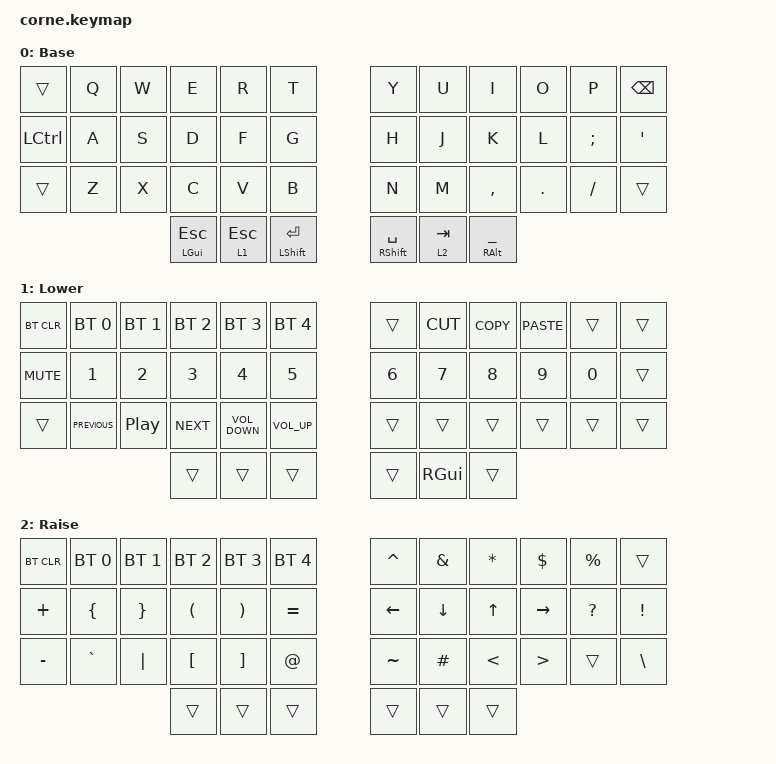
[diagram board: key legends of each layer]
/*
 * Copyright (c) 2020 The ZMK Contributors
 *
 * SPDX-License-Identifier: MIT
 */

#include <behaviors.dtsi>
#include <dt-bindings/zmk/bt.h>
#include <dt-bindings/zmk/keys.h>

&mt {
    flavor = "tap-preferred";
    tapping-term-ms = <180>;
};

/ {
    behaviors {
        space_tap: space_tap {
            compatible = "zmk,behavior-hold-tap";
            label = "SPACE_TAP";
            bindings = <&kp>, <&kp>;

            #binding-cells = <2>;
            tapping-term-ms = <190>;
            flavor = "tap-preferred";
        };

        Return_tap: Return_tap {
            compatible = "zmk,behavior-hold-tap";
            label = "RETURN_TAP";
            bindings = <&kp>, <&kp>;

            #binding-cells = <2>;
            tapping-term-ms = <150>;
        };
    };

    combos {
        compatible = "zmk,combos";

        CapsLock {
            bindings = <&kp CAPSLOCK>;
            key-positions = <38 39>;
        };
    };

    keymap {
        compatible = "zmk,keymap";

        default_layer {
            // -----------------------------------------------------------------------------------------
            // |  TAB |  Q  |  W  |  E  |  R  |  T  |   |  Y  |  U   |  I  |  O  |  P  | BKSP |
            // | CTRL |  A  |  S  |  D  |  F  |  G  |   |  H  |  J   |  K  |  L  |  ;  |  '   |
            // | SHFT |  Z  |  X  |  C  |  V  |  B  |   |  N  |  M   |  ,  |  .  |  /  | ESC  |
            //                    | GUI | LWR | ENT |   | SPC | RSE  | ALT |

            label = "Base";
            bindings = <
&trans     &kp Q  &kp W  &kp E                &kp R         &kp T                           &kp Y                         &kp U      &kp I                     &kp O    &kp P     &kp BACKSPACE
&kp LCTRL  &kp A  &kp S  &kp D                &kp F         &kp G                           &kp H                         &kp J      &kp K                     &kp L    &kp SEMI  &kp SQT
&trans     &kp Z  &kp X  &kp C                &kp V         &kp B                           &kp N                         &kp M      &kp COMMA                 &kp DOT  &kp FSLH  &trans
                         &mt LEFT_GUI ESCAPE  &lt 1 ESCAPE  &Return_tap LEFT_SHIFT ENTER    &space_tap RIGHT_SHIFT SPACE  &lt 2 TAB  &mt RIGHT_ALT UNDERSCORE
            >;
        };

        lower_layer {
            // -----------------------------------------------------------------------------------------
            // |  TAB |  BT1  |  BT2  | BT3 | BT4 | BT5 |   |     |     |     |     |     | BKSP |
            // | BTCLR|   1   |   2   |  3  |  4  |  5  |   |  6  |  7  |  8  |  9  |  0  |      |
            // | SHFT |       |       |     |     |     |   |     |     |     |     |     |      |
            //                    | GUI |     | ENT |   | SPC |     | ALT |

            label = "Lower";
            bindings = <
&bt BT_CLR  &bt BT_SEL 0    &bt BT_SEL 1      &bt BT_SEL 2  &bt BT_SEL 3       &bt BT_SEL 4       &trans        &kp K_CUT      &kp K_COPY  &kp K_PASTE  &trans  &trans
&kp C_MUTE  &kp NUMBER_1    &kp NUMBER_2      &kp NUMBER_3  &kp NUMBER_4       &kp N5             &kp NUMBER_6  &kp N7         &kp N8      &kp N9       &kp N0  &trans
&trans      &kp C_PREVIOUS  &kp C_PLAY_PAUSE  &kp C_NEXT    &kp C_VOLUME_DOWN  &kp C_VOLUME_UP    &trans        &trans         &trans      &trans       &trans  &trans
                                              &trans        &trans             &trans             &trans        &kp RIGHT_GUI  &trans
            >;
        };

        raise_layer {
            // -----------------------------------------------------------------------------------------
            // |  TAB |  !  |  @  |  #  |  $  |  %  |   |  ^  |  &  |  *  |  (  |  )  | BKSP |
            // | CTRL |     |     |     |     |     |   |  -  |  =  |  [  |  ]  |  \  |  `   |
            // | SHFT |     |     |     |     |     |   |  _  |  +  |  {  |  }  | "|" |  ~   |
            //                    | GUI |     | ENT |   | SPC |     | ALT |

            label = "Raise";
            bindings = <
&bt BT_CLR  &bt BT_SEL 0    &bt BT_SEL 1     &bt BT_SEL 2          &bt BT_SEL 3           &bt BT_SEL 4    &kp CARET       &kp AMPS        &kp ASTRK      &kp DOLLAR        &kp PERCENT   &trans
&kp PLUS    &kp LEFT_BRACE  &kp RIGHT_BRACE  &kp LEFT_PARENTHESIS  &kp RIGHT_PARENTHESIS  &kp EQUAL       &kp LEFT_ARROW  &kp DOWN_ARROW  &kp UP_ARROW   &kp RIGHT_ARROW   &kp QUESTION  &kp EXCLAMATION
&kp MINUS   &kp GRAVE       &kp PIPE         &kp LEFT_BRACKET      &kp RIGHT_BRACKET      &kp AT_SIGN     &kp TILDE       &kp POUND       &kp LESS_THAN  &kp GREATER_THAN  &trans        &kp BACKSLASH
                                             &trans                &trans                 &trans          &trans          &trans          &trans
            >;
        };
    };
};
